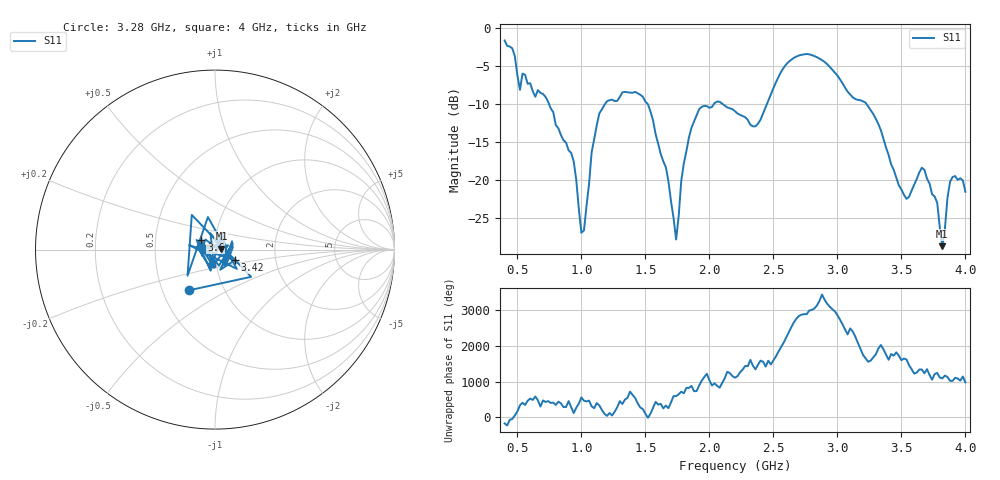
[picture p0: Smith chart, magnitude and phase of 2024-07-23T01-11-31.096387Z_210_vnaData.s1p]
!Created with skrf (http://scikit-rf.org).
# Hz S RI R 50.0
!freq ReS11 ImS11
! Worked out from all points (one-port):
!   181 points, 400 MHz to 4 GHz, reference 50 ohm
!   lowest |S11| = -28.8 dB at 3.82 GHz (marker M1), VSWR 1.08, Z = 53.7 + j0.635 ohm
!   |S11| at or under -10 dB: 746.2 MHz to 1.186 GHz (439.8 MHz wide, 45.5 % of centre); 1.516 GHz to 2.036 GHz (520.1 MHz wide, 29.3 % of centre); 3.226 GHz to end of sweep (the widest 3 of 4)
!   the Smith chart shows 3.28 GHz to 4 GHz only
!   S11 on the Smith chart (normalised r, x): 3.28 GHz: 0.68, -0.33; 3.42 GHz: 1.24, -0.15; 3.6 GHz: 0.85, +0.09; 4 GHz: 0.95, -0.16
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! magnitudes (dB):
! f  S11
! 400 MHz  -1.6
! 480 MHz  -3.7
! 520 MHz  -8.2
! 720 MHz  -9.1
! 860 MHz  -14.8
! 940 MHz  -17.6
! 1 GHz  -27.0
! 1.14 GHz  -11.3
! 1.3 GHz  -9.1
! 1.52 GHz  -10.1
! 1.66 GHz  -18.4
! 1.74 GHz  -27.9
! 1.76 GHz  -24.8
! 1.8 GHz  -17.9
! 1.92 GHz  -10.7
! 2.2 GHz  -11.0
! 2.36 GHz  -13.0
! 2.66 GHz  -3.9
! 3.1 GHz  -8.8
! 3.28 GHz  -11.3
! 3.42 GHz  -18.0
! 3.56 GHz  -22.3
! 3.6 GHz  -20.7
! 3.68 GHz  -18.7
! 3.78 GHz  -23.1
! 3.82 GHz  -28.8
! 3.88 GHz  -20.3
! 4 GHz  -21.6
